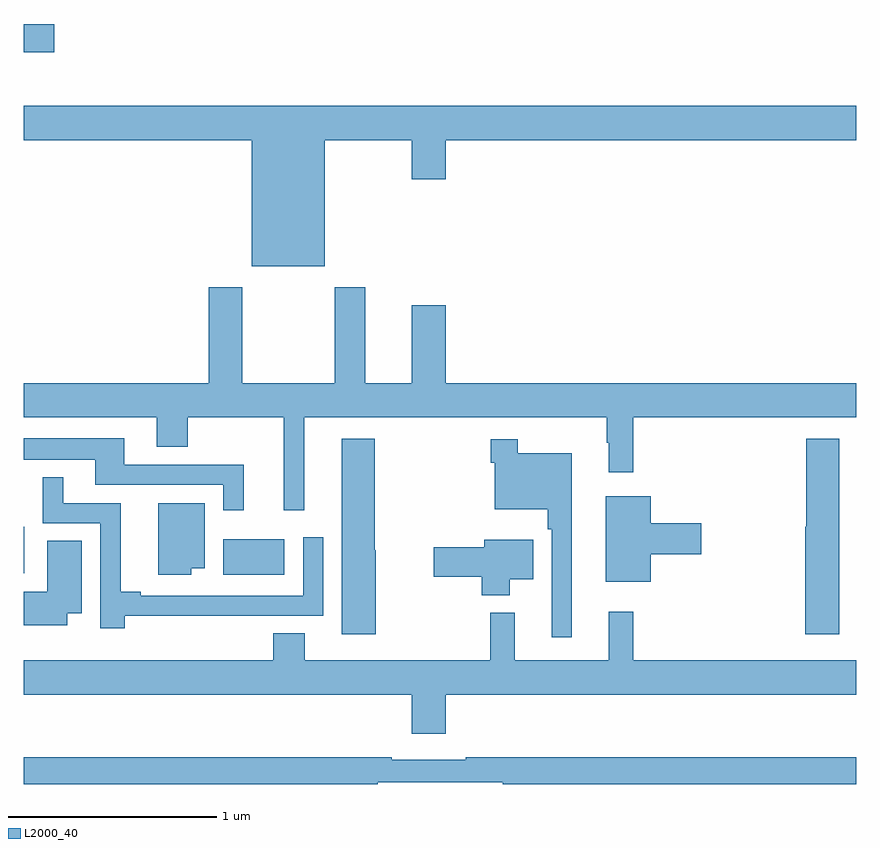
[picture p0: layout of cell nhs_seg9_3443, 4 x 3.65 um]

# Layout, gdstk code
import gdstk
lib = gdstk.Library(unit=1e-6, precision=1e-09)
def R(c, l, rs):  # rectangles x0, y0, x1, y1
    for r in rs: c.add(gdstk.rectangle(r[:2], r[2:], *l))
def P(c, l, *ps):  # polygons
    for p in ps: c.add(gdstk.Polygon(p, *l))
L2000_40 = (2000, 40)

nhs_seg9_3443 = lib.new_cell('nhs_seg9_3443')
R(nhs_seg9_3443, L2000_40, [(307.958,1219.64,308.251,1219.81), (307,1219.646,307.003,1219.87), (307,1222.151,307.147,1222.286)])
P(nhs_seg9_3443, L2000_40, [(308.446,1221.728),(308.864,1221.728),(308.864,1221.54),(309.028,1221.54),(309.028,1221.728),(311,1221.728),(311,1221.892),(307,1221.892),(307,1221.728),(308.096,1221.728),(308.096,1221.122),(308.446,1221.122)],
  [(308.348,1220.396),(309.801,1220.396),(309.801,1220.273),(309.812,1220.273),(309.812,1220.133),(309.929,1220.133),(309.929,1220.396),(311,1220.396),(311,1220.56),(309.028,1220.56),(309.028,1220.935),(308.864,1220.935),(308.864,1220.56),(308.641,1220.56),(308.641,1221.022),(308.494,1221.022),(308.494,1220.56),(308.049,1220.56),(308.049,1221.022),(307.889,1221.022),(307.889,1220.56),(307,1220.56),(307,1220.396),(307.64,1220.396),(307.64,1220.254),(307.788,1220.254),(307.788,1220.396),(308.249,1220.396),(308.249,1219.95),(308.348,1219.95)],
  [(308.057,1220.169),(307.483,1220.169),(307.483,1220.296),(307,1220.296),(307,1220.192),(307.343,1220.192),(307.343,1220.073),(307.959,1220.073),(307.959,1219.95),(308.057,1219.95)],
  [(308.692,1219.758),(308.687,1219.758),(308.687,1220.293),(308.528,1220.293),(308.528,1219.353),(308.692,1219.353)],
  [(310.918,1220.293),(310.76,1220.293),(310.76,1219.869),(310.754,1219.869),(310.754,1219.353),(310.918,1219.353)],
  [(309.634,1220.224),(309.373,1220.224),(309.373,1220.29),(309.244,1220.29),(309.244,1220.177),(309.264,1220.177),(309.264,1219.955),(309.517,1219.955),(309.517,1219.859),(309.537,1219.859),(309.537,1219.338),(309.634,1219.338)],
  [(307.484,1219.442),(308.114,1219.442),(308.114,1219.443),(308.439,1219.443),(308.439,1219.819),(308.343,1219.819),(308.343,1219.539),(307.561,1219.539),(307.561,1219.559),(307.466,1219.559),(307.466,1219.983),(307.189,1219.983),(307.189,1220.107),(307.091,1220.107),(307.091,1219.887),(307.368,1219.887),(307.368,1219.383),(307.484,1219.383)],
  [(310.012,1219.739),(310.255,1219.739),(310.255,1219.886),(310.012,1219.886),(310.012,1220.017),(309.797,1220.017),(309.797,1219.607),(310.012,1219.607)],
  [(307.804,1219.67),(307.87,1219.67),(307.87,1219.984),(307.646,1219.984),(307.646,1219.64),(307.804,1219.64)],
  [(309.334,1219.619),(309.448,1219.619),(309.448,1219.807),(309.212,1219.807),(309.212,1219.772),(308.97,1219.772),(308.97,1219.63),(309.2,1219.63),(309.2,1219.541),(309.334,1219.541)],
  [(307.21,1219.454),(307.279,1219.454),(307.279,1219.802),(307.112,1219.802),(307.112,1219.558),(307,1219.558),(307,1219.397),(307.21,1219.397)],
  [(309.028,1219.064),(311,1219.064),(311,1219.228),(309.929,1219.228),(309.929,1219.462),(309.812,1219.462),(309.812,1219.228),(309.359,1219.228),(309.359,1219.456),(309.241,1219.456),(309.241,1219.228),(308.35,1219.228),(308.35,1219.358),(308.198,1219.358),(308.198,1219.228),(307,1219.228),(307,1219.064),(308.864,1219.064),(308.864,1218.876),(309.028,1218.876)],
  [(308.702,1218.642),(309.302,1218.642),(309.302,1218.634),(311,1218.634),(311,1218.763),(309.124,1218.763),(309.124,1218.75),(308.768,1218.75),(308.768,1218.763),(307,1218.763),(307,1218.634),(308.702,1218.634)])

lib.write_gds('nhs_seg9_3443.gds')
